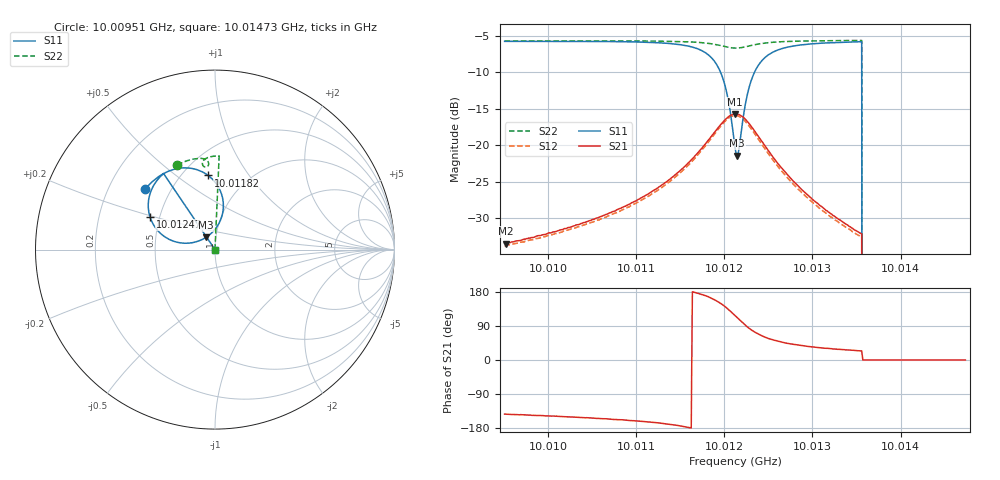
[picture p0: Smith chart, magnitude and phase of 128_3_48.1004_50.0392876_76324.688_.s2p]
#  HZ  S  RI  R  50.00
! Rohde & Schwarz Vector Network Analyzer
! Rohde-Schwarz,ZNB20-2Port,1311601062101988,3.16
! Created: UTC 12/23/2023, 3:47:29 AM
! freq[Hz]  re:S11  im:S11  re:S21  im:S21  re:S12  im:S12  re:S22  im:S22
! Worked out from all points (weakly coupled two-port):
!   401 points, 10.00951 GHz to 10.01473 GHz, reference 50 ohm
!   highest |S21| = -15.72 dB at 10.01212 GHz (marker M1); lowest = -33.5 dB at 10.00952 GHz (marker M2)
!   lowest |S11| = -21.5 dB at 10.01215 GHz (marker M3), VSWR 1.18, Z = 44.8 + j6.15 ohm
!   |S11| at or under -10 dB: 10.01196 GHz to 10.01234 GHz (385.5 kHz wide, 0.00385 % of centre); 10.01356 GHz to end of sweep
!   |S22| runs from - to -5.6 dB; largest |S21 - S12| = 0.0078
!   S11 on the Smith chart (normalised r, x): 10.00951 GHz: 0.36, +0.33; 10.01182 GHz: 0.66, +0.66; 10.01247 GHz: 0.44, +0.19; 10.01473 GHz: 1.00, +0.00
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1.0009509e10  -0.3907 0.3354  -0.0169 -0.0128  -0.0155 -0.0131  -0.2111 0.4729
1.0009522e10  -0.3901 0.3362  -0.0169 -0.0127  -0.0156 -0.0132  -0.2102 0.4733
1.0010384e10  -0.3357 0.39  -0.0256 -0.0136  -0.024 -0.0143  -0.1567 0.4945
1.0011259e10  -0.234 0.4457  -0.0502 -0.0123  -0.0476 -0.0143  -0.095 0.5078
1.0011573e10  -0.1539 0.4551  -0.0734 -0.00399  -0.0706 -0.0078  -0.0681 0.5072
1.0011821e10  -0.0385 0.4135  -0.1056 0.025  -0.1035 0.0191  -0.0442 0.4966
1.0011913e10  0.0138 0.3575  -0.1166 0.0519  -0.1159 0.0445  -0.0372 0.4872
1.0011991e10  0.0444 0.2747  -0.1179 0.0852  -0.1188 0.0781  -0.0353 0.4757
1.0012056e10  0.0376 0.1833  -0.1044 0.1186  -0.1069 0.1113  -0.0396 0.4661
1.0012122e10  -0.0162 0.095  -0.0745 0.1458  -0.0781 0.139  -0.049 0.4604
1.0012148e10  -0.0501 0.0681  -0.0592 0.1522  -0.0632 0.1458  -0.0535 0.46
1.0012174e10  -0.0882 0.0491  -0.0435 0.1553  -0.0475 0.1491  -0.0579 0.461
1.0012239e10  -0.1876 0.0368  -0.00458 0.1503  -0.00913 0.145  -0.0668 0.4675
1.0012291e10  -0.2546 0.0566  0.0191 0.1368  0.0137 0.1322  -0.0699 0.4753
1.001237e10  -0.322 0.1092  0.0394 0.112  0.0341 0.1084  -0.0692 0.4867
1.0012474e10  -0.3621 0.1814  0.0494 0.0826  0.0438 0.0807  -0.0626 0.4984
1.0012696e10  -0.3683 0.2869  0.0459 0.0455  0.0416 0.0454  -0.0433 0.5117
1.0012997e10  -0.3401 0.36  0.035 0.0243  0.0322 0.0248  -0.0184 0.5185
1.0013533e10  -0.2891 0.4218  0.0229 0.0103  0.0212 0.0111  0.0212 0.5217
1.0013598e10  0 0  0 0  0 0  0 0
1.0013872e10  0 0  0 0  0 0  0 0
1.0014734e10  0 0  0 0  0 0  0 0
